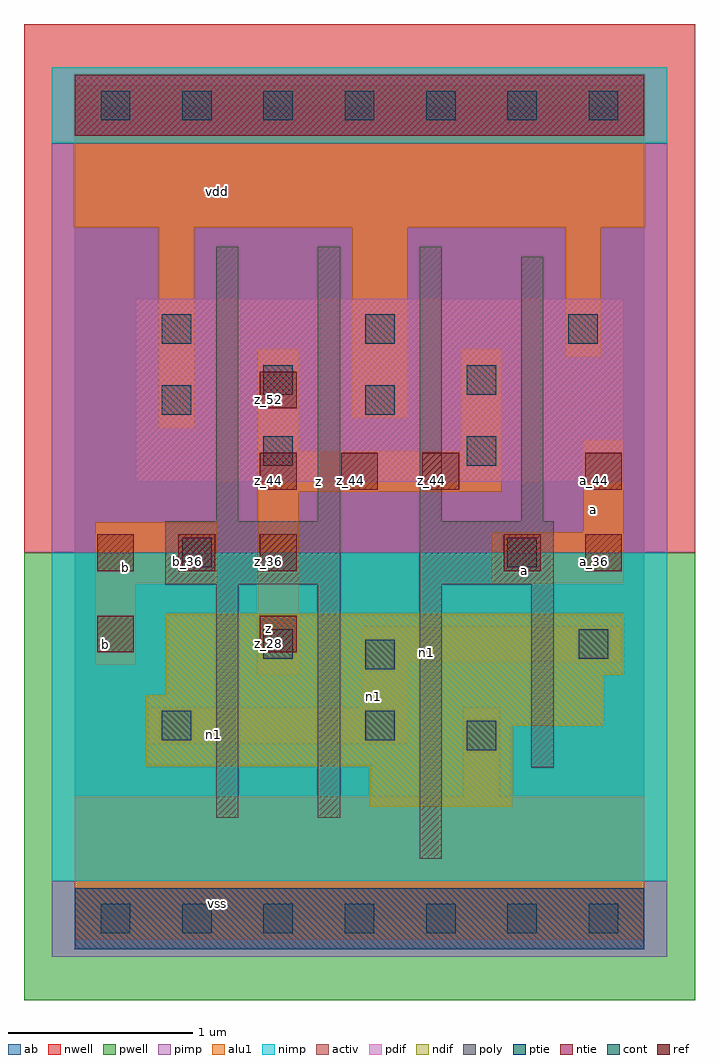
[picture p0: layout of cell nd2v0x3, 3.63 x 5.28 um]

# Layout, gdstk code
import gdstk
lib = gdstk.Library(unit=1e-6, precision=2.5e-09)
def R(c, l, rs):  # rectangles x0, y0, x1, y1
    for r in rs: c.add(gdstk.rectangle(r[:2], r[2:], *l))
def A(c, l, x, y, w, h, nx, ny, dx, dy):  # array of equal rectangles
    R(c, l, [(x+i*dx, y+j*dy, x+i*dx+w, y+j*dy+h) for i in range(nx) for j in range(ny)])
ndif = (3, 0)
pdif = (4, 0)
ntie = (5, 0)
ptie = (6, 0)
ref = (24, 0)
cont = (25, 0)
pwell = (41, 0)
nwell = (42, 0)
activ = (43, 0)
pimp = (44, 0)
nimp = (45, 0)
poly = (46, 0)
alu1 = (49, 0)
ab = (63, 0)

nd2v0x3 = lib.new_cell('nd2v0x3')
R(nd2v0x3, ndif, [(1.595,0.605,2.365,0.825), (0.385,0.825,2.365,1.045), (0.385,1.045,2.86,1.21), (0.495,1.21,2.86,1.32), (0.495,1.32,2.97,1.65)])
R(nd2v0x3, pdif, [(0.33,2.365,2.97,3.355)])
R(nd2v0x3, ntie, [(0,4.235,3.08,4.565)])
R(nd2v0x3, ptie, [(0,-0.165,3.08,0.165)])
A(nd2v0x3, ref, 0.12, 1.88, 0.2, 0.2, 3, 1, 0.44, 0)
A(nd2v0x3, ref, 1, 2.32, 0.2, 0.2, 3, 1, 0.44, 0)
R(nd2v0x3, ref, [(0.12,1.44,0.32,1.64), (1,1.44,1.2,1.64), (2.32,1.88,2.52,2.08), (2.76,1.88,2.96,2.08), (2.76,2.32,2.96,2.52), (1,2.76,1.2,2.96)])
A(nd2v0x3, cont, 0.14, -0.08, 0.16, 0.16, 7, 2, 0.44, 4.4)
A(nd2v0x3, cont, 0.47, 3.11, 0.16, 0.16, 3, 1, 1.1, 0)
R(nd2v0x3, cont, [(2.12,0.91,2.28,1.07), (0.47,0.965,0.63,1.125), (1.57,0.965,1.73,1.125), (1.57,1.35,1.73,1.51), (1.02,1.405,1.18,1.565), (2.725,1.405,2.885,1.565), (0.58,1.9,0.74,2.06), (2.34,1.9,2.5,2.06), (1.02,2.45,1.18,2.61), (2.12,2.45,2.28,2.61), (0.47,2.725,0.63,2.885), (1.57,2.725,1.73,2.885), (1.02,2.835,1.18,2.995), (2.12,2.835,2.28,2.995)])
R(nd2v0x3, pwell, [(-0.275,-0.44,3.355,1.98)])
R(nd2v0x3, nwell, [(-0.275,1.98,3.355,4.84)])
R(nd2v0x3, activ, [(0,-0.165,3.08,0.165), (1.595,0.605,2.365,0.825), (0.385,0.825,2.365,1.045), (0.385,1.045,2.86,1.21), (0.495,1.21,2.86,1.32), (0.495,1.32,2.97,1.65), (0.33,2.365,2.97,3.355), (0,4.235,3.08,4.565)])
R(nd2v0x3, pimp, [(-0.125,-0.205,3.205,0.205), (-0.125,1.98,3.205,4.195)])
R(nd2v0x3, nimp, [(-0.125,0.205,3.205,1.98), (-0.125,4.195,3.205,4.605)])
A(nd2v0x3, poly, 0.765, 2.15, 0.12, 1.485, 3, 1, 0.55, 0)
R(nd2v0x3, poly, [(1.865,0.325,1.985,1.81), (0.765,0.545,0.885,1.81), (1.315,0.545,1.435,1.81), (2.47,0.82,2.59,1.81), (0.49,1.81,1.435,2.15), (1.865,1.81,2.59,2.15), (2.415,2.15,2.535,3.58)])
R(nd2v0x3, alu1, [(0,-0.11,3.08,0.66), (2.105,0.66,2.295,1.14), (0.4,0.95,1.8,1.14), (1.555,1.14,1.8,1.39), (0.99,1.32,1.21,2.31), (0.11,1.375,0.33,1.815), (1.555,1.39,2.955,1.58), (0.11,1.815,0.77,2.145), (2.255,1.815,2.97,2.09), (2.75,2.09,2.97,2.585), (0.99,2.31,2.31,2.53), (0.99,2.53,1.21,3.08), (2.09,2.53,2.31,3.08), (0.455,2.655,0.645,3.74), (1.5,2.71,1.8,3.74), (2.655,3.04,2.845,3.74), (0,3.74,3.08,4.51)])
R(nd2v0x3, ab, [(0,0,3.08,4.4)])
nd2v0x3.add(gdstk.Label('vss', (0.77,0.0825), layer=49, texttype=0))
nd2v0x3.add(gdstk.Label('n1', (0.75,0.9975), layer=49, texttype=0))
nd2v0x3.add(gdstk.Label('n1', (1.615,1.2025), layer=49, texttype=0))
nd2v0x3.add(gdstk.Label('n1', (1.905,1.4375), layer=49, texttype=0))
nd2v0x3.add(gdstk.Label('a', (2.4325,1.8825), layer=49, texttype=0))
nd2v0x3.add(gdstk.Label('a', (2.805,2.2125), layer=49, texttype=0))
nd2v0x3.add(gdstk.Label('z', (1.045,1.5675), layer=49, texttype=0))
nd2v0x3.add(gdstk.Label('b', (0.165,1.485), layer=49, texttype=0))
nd2v0x3.add(gdstk.Label('b', (0.275,1.8975), layer=49, texttype=0))
nd2v0x3.add(gdstk.Label('z', (1.32,2.365), layer=49, texttype=0))
nd2v0x3.add(gdstk.Label('vdd', (0.77,3.9325), layer=49, texttype=0))
nd2v0x3.add(gdstk.Label('z_52', (1.05,2.81), layer=24, texttype=0))
nd2v0x3.add(gdstk.Label('a_36', (2.37,1.93), layer=24, texttype=0))
nd2v0x3.add(gdstk.Label('a_36', (2.81,1.93), layer=24, texttype=0))
nd2v0x3.add(gdstk.Label('b_36', (0.61,1.93), layer=24, texttype=0))
nd2v0x3.add(gdstk.Label('z_28', (1.05,1.49), layer=24, texttype=0))
nd2v0x3.add(gdstk.Label('z_36', (1.05,1.93), layer=24, texttype=0))
nd2v0x3.add(gdstk.Label('z_44', (1.05,2.37), layer=24, texttype=0))
nd2v0x3.add(gdstk.Label('b_28', (0.17,1.49), layer=24, texttype=0))
nd2v0x3.add(gdstk.Label('b_36', (0.17,1.93), layer=24, texttype=0))
nd2v0x3.add(gdstk.Label('z_44', (1.49,2.37), layer=24, texttype=0))
nd2v0x3.add(gdstk.Label('z_44', (1.93,2.37), layer=24, texttype=0))
nd2v0x3.add(gdstk.Label('a_44', (2.81,2.37), layer=24, texttype=0))

lib.write_gds('nd2v0x3.gds')
